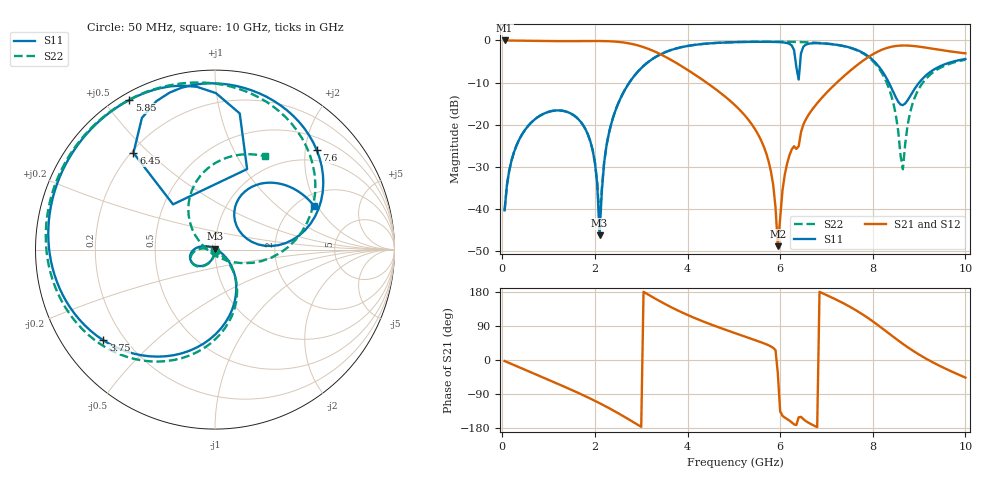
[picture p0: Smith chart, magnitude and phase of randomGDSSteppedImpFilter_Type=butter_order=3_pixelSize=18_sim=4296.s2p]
! freq	dB(S11)	phase(S11)	dB(S12)	phase(S12)
!  dB(S21)	phase(S21)	dB(S22)	phase(S22)
!S-par simulation data
#  GHz  S  DB  R 50
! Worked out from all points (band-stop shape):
!   200 points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, 50 MHz to 10 GHz, reference 50 ohm
!   highest |S21| = 0.00 dB at 50 MHz (marker M1); lowest = -48.8 dB at 5.95 GHz (marker M2)
!   |S21| within 3 dB of the highest: start of sweep to 3.365 GHz; 8.045 GHz to 9.963 GHz (1.918 GHz wide, 21.3 % of centre)
!   lowest |S11| = -46.2 dB at 2.1 GHz (marker M3), VSWR 1.01, Z = 50 + j0.491 ohm
!   |S11| at or under -10 dB: start of sweep to 2.744 GHz; 8.347 GHz to 9.001 GHz (653.9 MHz wide, 7.54 % of centre)
!   |S22| runs from -42.4 to -0.3 dB; largest |S21 - S12| = 0
!   S11 on the Smith chart (normalised r, x): 50 MHz: 1.00, -0.02; 3.75 GHz: 0.12, -0.35; 5.85 GHz: 0.03, +0.58; 6.45 GHz: 0.21, +0.45; 7.6 GHz: 0.75, +2.24; 10 GHz: 2.43, +1.87
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0.05  -40.26 -93.0  -0.00 -2.7  -0.00 -2.7  -40.26 -92.9
0.2  -28.42 -101.5  -0.02 -10.6  -0.02 -10.6  -28.42 -101.1
0.6  -19.74 -123.1  -0.08 -31.5  -0.08 -31.5  -19.74 -121.6
1.75  -20.16 172.9  -0.15 -93.0  -0.15 -93.0  -20.17 -179.8
2  -28.94 153.9  -0.13 -107.7  -0.13 -107.7  -28.89 173.1
2.1  -46.16 91.7  -0.14 -113.9  -0.14 -113.9  -42.40 -129.8
2.2  -28.93 -26.6  -0.15 -120.2  -0.15 -120.2  -28.73 -41.4
2.4  -18.01 -44.4  -0.25 -133.4  -0.25 -133.4  -17.97 -46.5
3.4  -3.38 -118.3  -3.19 155.3  -3.19 155.3  -3.37 -113.7
3.75  -1.92 -140.9  -5.28 133.0  -5.28 133.0  -1.91 -135.1
5.05  -0.40 155.0  -15.62 69.9  -15.62 69.9  -0.39 165.3
5.85  -0.35 119.8  -34.27 32.1  -34.27 32.1  -0.29 135.2
5.95  -0.38 114.6  -48.76 -35.9  -48.76 -35.9  -0.30 131.5
6.1  -0.51 105.3  -31.80 -151.9  -31.80 -151.9  -0.31 125.7
6.35  -6.32 68.3  -25.72 -171.4  -25.72 -171.4  -0.35 115.9
6.45  -3.04 130.1  -21.75 -150.1  -21.75 -150.1  -0.38 111.7
6.7  -0.67 98.0  -16.26 -171.4  -16.26 -171.4  -0.50 101.1
7.6  -2.02 44.3  -6.39 133.9  -6.39 133.9  -2.08 52.0
8.35  -10.05 3.6  -1.63 69.9  -1.63 69.9  -11.38 -13.6
8.65  -15.33 38.3  -1.20 42.5  -1.20 42.5  -30.54 -144.4
9  -10.02 65.0  -1.47 14.3  -1.47 14.3  -11.37 123.4
10  -4.40 24.0  -3.05 -46.4  -3.05 -46.4  -4.58 61.6
